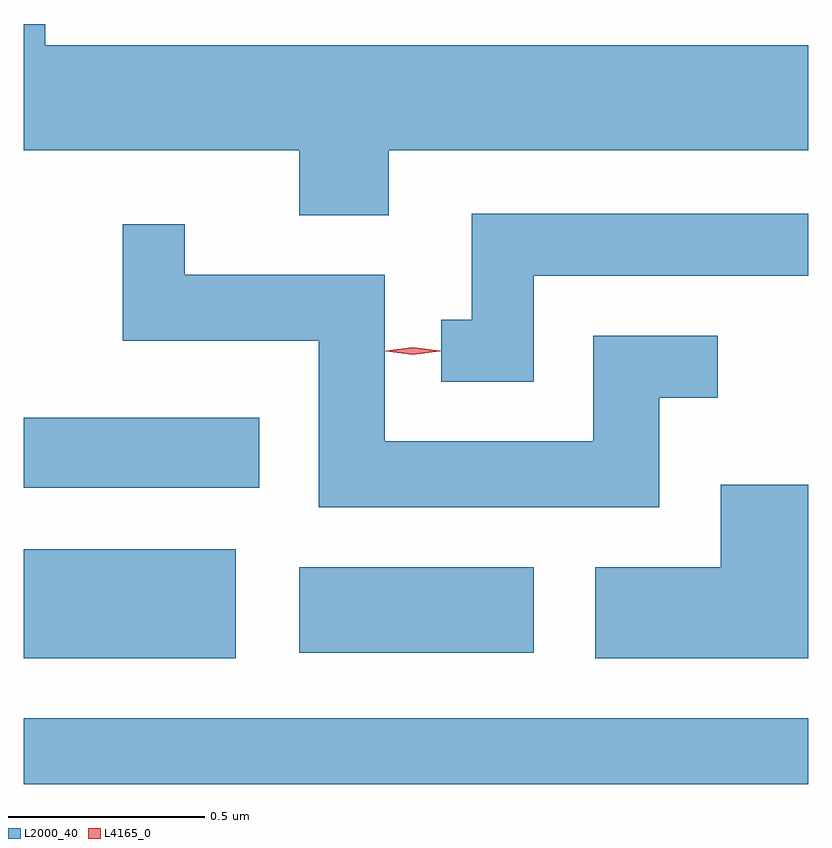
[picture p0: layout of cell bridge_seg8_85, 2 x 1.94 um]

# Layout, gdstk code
import gdstk
lib = gdstk.Library(unit=1e-6, precision=1e-09)
def R(c, l, rs):  # rectangles x0, y0, x1, y1
    for r in rs: c.add(gdstk.rectangle(r[:2], r[2:], *l))
def P(c, l, *ps):  # polygons
    for p in ps: c.add(gdstk.Polygon(p, *l))
L2000_40 = (2000, 40)
L4165_0 = (4165, 0)

bridge_seg8_85 = lib.new_cell('bridge_seg8_85')
R(bridge_seg8_85, L2000_40, [(1593.909,1810.381,1595.909,1810.549), (1593.909,1810.701,1594.449,1810.979), (1594.611,1810.716,1595.209,1810.934), (1593.909,1811.136,1594.509,1811.314)])
P(bridge_seg8_85, L2000_40, [(1594.839,1811.996),(1595.909,1811.996),(1595.909,1812.264),(1593.964,1812.264),(1593.964,1812.318),(1593.909,1812.318),(1593.909,1811.996),(1594.611,1811.996),(1594.611,1811.831),(1594.839,1811.831)],
  [(1595.209,1811.676),(1595.909,1811.676),(1595.909,1811.834),(1595.051,1811.834),(1595.051,1811.564),(1594.973,1811.564),(1594.973,1811.406),(1595.209,1811.406)],
  [(1595.529,1811.366),(1595.678,1811.366),(1595.678,1811.524),(1595.361,1811.524),(1595.361,1811.254),(1594.829,1811.254),(1594.829,1811.679),(1594.319,1811.679),(1594.319,1811.808),(1594.161,1811.808),(1594.161,1811.511),(1594.661,1811.511),(1594.661,1811.086),(1595.529,1811.086)],
  [(1595.909,1811.144),(1595.686,1811.144),(1595.686,1810.934),(1595.366,1810.934),(1595.366,1810.701),(1595.909,1810.701)])
P(bridge_seg8_85, L4165_0, [(1594.901,1811.475),(1594.832,1811.484),(1594.832,1811.484),(1594.832,1811.485),(1594.901,1811.494),(1594.971,1811.485),(1594.971,1811.485),(1594.971,1811.484)])

lib.write_gds('bridge_seg8_85.gds')
